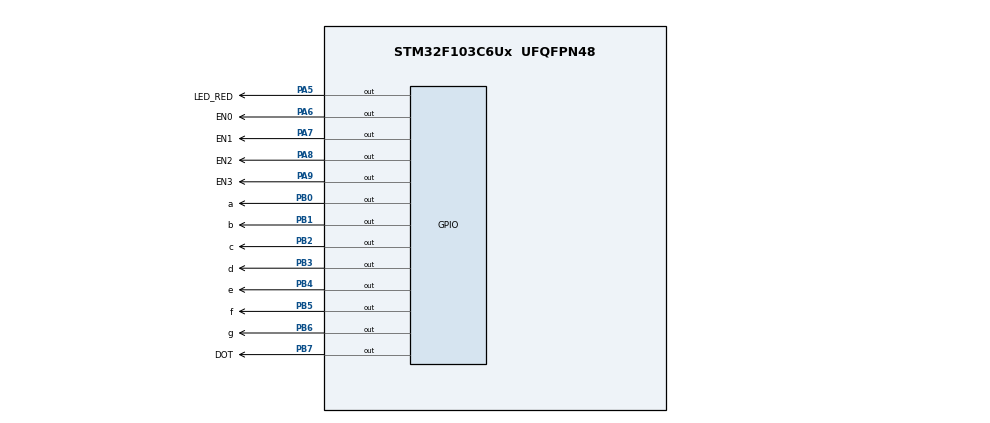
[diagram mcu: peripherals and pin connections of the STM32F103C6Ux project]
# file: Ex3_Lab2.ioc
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Mcu.Family=STM32F1
Mcu.Name=STM32F103C6Ux
Mcu.Package=UFQFPN48
NVIC.PriorityGroup=NVIC_PRIORITYGROUP_4
NVIC.TIM2_IRQn=true\:0\:0\:false\:false\:true\:true\:true
PA5.GPIO_Label=LED_RED
PA5.Signal=GPIO_Output
PA6.GPIO_Label=EN0
PA6.Signal=GPIO_Output
PA7.GPIO_Label=EN1
PA7.Signal=GPIO_Output
PA8.GPIO_Label=EN2
PA8.Signal=GPIO_Output
PA9.GPIO_Label=EN3
PA9.Signal=GPIO_Output
PB0.GPIO_Label=a
PB0.Signal=GPIO_Output
PB1.GPIO_Label=b
PB1.Signal=GPIO_Output
PB2.GPIO_Label=c
PB2.Signal=GPIO_Output
PB3.GPIO_Label=d
PB3.Signal=GPIO_Output
PB4.GPIO_Label=e
PB4.Signal=GPIO_Output
PB5.GPIO_Label=f
PB5.Signal=GPIO_Output
PB6.GPIO_Label=g
PB6.Signal=GPIO_Output
PB7.GPIO_Label=DOT
PB7.Signal=GPIO_Output
ProjectManager.HeapSize=0x200
ProjectManager.StackSize=0x400
ProjectManager.TargetToolchain=STM32CubeIDE
RCC.APB1Freq_Value=8000000
RCC.APB2Freq_Value=8000000
TIM2.Period=9
TIM2.Prescaler=7999
VP_SYS_VS_ND.Mode=No_Debug
VP_TIM2_VS_ClockSourceINT.Mode=Internal
board=custom

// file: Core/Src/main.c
/* USER CODE BEGIN Header */
/**
  ******************************************************************************
  * @file           : main.c
  * @brief          : Main program body
  ******************************************************************************
  * @attention
  *
  * <h2><center>&copy; Copyright (c) 2022 STMicroelectronics.
  * All rights reserved.</center></h2>
  *
  * This software component is licensed by ST under BSD 3-Clause license,
  * the "License"; You may not use this file except in compliance with the
  * License. You may obtain a copy of the License at:
  *                        opensource.org/licenses/BSD-3-Clause
  *
  ******************************************************************************
  */
/* USER CODE END Header */
#include "main.h"

TIM_HandleTypeDef htim2;

void SystemClock_Config(void);
static void MX_GPIO_Init(void);
static void MX_TIM2_Init(void);

/* USER CODE BEGIN 0 */
void display7SEG(uint16_t Pin1, uint16_t Pin2, uint16_t Pin3, uint16_t Pin4, uint16_t Pin5, uint16_t Pin6, uint16_t Pin7,
				 GPIO_TypeDef* Port1, GPIO_TypeDef* Port2, GPIO_TypeDef* Port3, GPIO_TypeDef* Port4, GPIO_TypeDef* Port5, GPIO_TypeDef* Port6, GPIO_TypeDef* Port7,
				 int num) {
	switch(num) {
	case 0: //Number 0 is 0000001
		HAL_GPIO_WritePin(Port1, Pin1, RESET);
		HAL_GPIO_WritePin(Port2, Pin2, RESET);
		HAL_GPIO_WritePin(Port3, Pin3, RESET);
		HAL_GPIO_WritePin(Port4, Pin4, RESET);
		HAL_GPIO_WritePin(Port5, Pin5, RESET);
		HAL_GPIO_WritePin(Port6, Pin6, RESET);
		HAL_GPIO_WritePin(Port7, Pin7, SET);
		break;

	case 1: //Number 1 is 1001111
		HAL_GPIO_WritePin(Port1, Pin1, SET);
		HAL_GPIO_WritePin(Port2, Pin2, RESET);
		HAL_GPIO_WritePin(Port3, Pin3, RESET);
		HAL_GPIO_WritePin(Port4, Pin4, SET);
		HAL_GPIO_WritePin(Port5, Pin5, SET);
		HAL_GPIO_WritePin(Port6, Pin6, SET);
		HAL_GPIO_WritePin(Port7, Pin7, SET);
		break;

	case 2: //Number 2 is 0010010
		HAL_GPIO_WritePin(Port1, Pin1, RESET);
		HAL_GPIO_WritePin(Port2, Pin2, RESET);
		HAL_GPIO_WritePin(Port3, Pin3, SET);
		HAL_GPIO_WritePin(Port4, Pin4, RESET);
		HAL_GPIO_WritePin(Port5, Pin5, RESET);
		HAL_GPIO_WritePin(Port6, Pin6, SET);
		HAL_GPIO_WritePin(Port7, Pin7, RESET);
		break;

	case 3: //Number 3 is 0000110
		HAL_GPIO_WritePin(Port1, Pin1, RESET);
		HAL_GPIO_WritePin(Port2, Pin2, RESET);
		HAL_GPIO_WritePin(Port3, Pin3, RESET);
		HAL_GPIO_WritePin(Port4, Pin4, RESET);
		HAL_GPIO_WritePin(Port5, Pin5, SET);
		HAL_GPIO_WritePin(Port6, Pin6, SET);
		HAL_GPIO_WritePin(Port7, Pin7, RESET);
		break;

	case 4: //Number 4 is 1001100
		HAL_GPIO_WritePin(Port1, Pin1, SET);
		HAL_GPIO_WritePin(Port2, Pin2, RESET);
		HAL_GPIO_WritePin(Port3, Pin3, RESET);
		HAL_GPIO_WritePin(Port4, Pin4, SET);
		HAL_GPIO_WritePin(Port5, Pin5, SET);
		HAL_GPIO_WritePin(Port6, Pin6, RESET);
		HAL_GPIO_WritePin(Port7, Pin7, RESET);
		break;

	case 5: //Number 5 is 0100100
		HAL_GPIO_WritePin(Port1, Pin1, RESET);
		HAL_GPIO_WritePin(Port2, Pin2, SET);
		HAL_GPIO_WritePin(Port3, Pin3, RESET);
		HAL_GPIO_WritePin(Port4, Pin4, RESET);
		HAL_GPIO_WritePin(Port5, Pin5, SET);
		HAL_GPIO_WritePin(Port6, Pin6, RESET);
		HAL_GPIO_WritePin(Port7, Pin7, RESET);
		break;

	case 6: //Number 6 is 0100000
		HAL_GPIO_WritePin(Port1, Pin1, RESET);
		HAL_GPIO_WritePin(Port2, Pin2, SET);
		HAL_GPIO_WritePin(Port3, Pin3, RESET);
		HAL_GPIO_WritePin(Port4, Pin4, RESET);
		HAL_GPIO_WritePin(Port5, Pin5, RESET);
		HAL_GPIO_WritePin(Port6, Pin6, RESET);
		HAL_GPIO_WritePin(Port7, Pin7, RESET);
		break;

	case 7: //Number 7 is 0001111
		HAL_GPIO_WritePin(Port1, Pin1, RESET);
		HAL_GPIO_WritePin(Port2, Pin2, RESET);
		HAL_GPIO_WritePin(Port3, Pin3, RESET);
		HAL_GPIO_WritePin(Port4, Pin4, SET);
		HAL_GPIO_WritePin(Port5, Pin5, SET);
		HAL_GPIO_WritePin(Port6, Pin6, SET);
		HAL_GPIO_WritePin(Port7, Pin7, SET);
		break;

	case 8: //Number 8 is 0000000
		HAL_GPIO_WritePin(Port1, Pin1, RESET);
		HAL_GPIO_WritePin(Port2, Pin2, RESET);
		HAL_GPIO_WritePin(Port3, Pin3, RESET);
		HAL_GPIO_WritePin(Port4, Pin4, RESET);
		HAL_GPIO_WritePin(Port5, Pin5, RESET);
		HAL_GPIO_WritePin(Port6, Pin6, RESET);
		HAL_GPIO_WritePin(Port7, Pin7, RESET);
		break;

	case 9: //Number 9 is 0000100
		HAL_GPIO_WritePin(Port1, Pin1, RESET);
		HAL_GPIO_WritePin(Port2, Pin2, RESET);
		HAL_GPIO_WritePin(Port3, Pin3, RESET);
		HAL_GPIO_WritePin(Port4, Pin4, RESET);
		HAL_GPIO_WritePin(Port5, Pin5, SET);
		HAL_GPIO_WritePin(Port6, Pin6, RESET);
		HAL_GPIO_WritePin(Port7, Pin7, RESET);
		break;

	default: break;
	}
}
const int MAX_LED = 4;
int index_led = 0;
int led_buffer[4] = {1, 2, 3, 4};

void update7SEG(int index) {
	switch(index) {
	case 0: //display led_buffer[0] on LED SEG1
		display7SEG(a_Pin, b_Pin, c_Pin, d_Pin, e_Pin, f_Pin, g_Pin,
				    a_GPIO_Port, b_GPIO_Port, c_GPIO_Port, d_GPIO_Port, e_GPIO_Port, f_GPIO_Port, g_GPIO_Port,
					led_buffer[index]);

		HAL_GPIO_WritePin(EN0_GPIO_Port, EN0_Pin, RESET);
		HAL_GPIO_WritePin(EN1_GPIO_Port, EN1_Pin, SET);
		HAL_GPIO_WritePin(EN2_GPIO_Port, EN2_Pin, SET);
		HAL_GPIO_WritePin(EN3_GPIO_Port, EN3_Pin, SET);

		break;
	case 1: //display led_buffer[1] on LED SEG2
		display7SEG(a_Pin, b_Pin, c_Pin, d_Pin, e_Pin, f_Pin, g_Pin,
				    a_GPIO_Port, b_GPIO_Port, c_GPIO_Port, d_GPIO_Port, e_GPIO_Port, f_GPIO_Port, g_GPIO_Port,
					led_buffer[index]);

		HAL_GPIO_WritePin(EN0_GPIO_Port, EN0_Pin, SET);
		HAL_GPIO_WritePin(EN1_GPIO_Port, EN1_Pin, RESET);
		HAL_GPIO_WritePin(EN2_GPIO_Port, EN2_Pin, SET);
		HAL_GPIO_WritePin(EN3_GPIO_Port, EN3_Pin, SET);

		break;
	case 2: //display led_buffer[2] on LED SEG3
		display7SEG(a_Pin, b_Pin, c_Pin, d_Pin, e_Pin, f_Pin, g_Pin,
				    a_GPIO_Port, b_GPIO_Port, c_GPIO_Port, d_GPIO_Port, e_GPIO_Port, f_GPIO_Port, g_GPIO_Port,
					led_buffer[index]);

		HAL_GPIO_WritePin(EN0_GPIO_Port, EN0_Pin, SET);
		HAL_GPIO_WritePin(EN1_GPIO_Port, EN1_Pin, SET);
		HAL_GPIO_WritePin(EN2_GPIO_Port, EN2_Pin, RESET);
		HAL_GPIO_WritePin(EN3_GPIO_Port, EN3_Pin, SET);

		break;
	case 3: //display led_buffer[3] on LED SEG4
		display7SEG(a_Pin, b_Pin, c_Pin, d_Pin, e_Pin, f_Pin, g_Pin,
				    a_GPIO_Port, b_GPIO_Port, c_GPIO_Port, d_GPIO_Port, e_GPIO_Port, f_GPIO_Port, g_GPIO_Port,
					led_buffer[index]);

		HAL_GPIO_WritePin(EN0_GPIO_Port, EN0_Pin, SET);
		HAL_GPIO_WritePin(EN1_GPIO_Port, EN1_Pin, SET);
		HAL_GPIO_WritePin(EN2_GPIO_Port, EN2_Pin, SET);
		HAL_GPIO_WritePin(EN3_GPIO_Port, EN3_Pin, RESET);

		break;
	default:
		break;
	}
}
/* USER CODE END 0 */

int main(void)
{

  /* MCU Configuration--------------------------------------------------------*/

  /* Reset of all peripherals, Initializes the Flash interface and the Systick. */
  HAL_Init();

  /* Configure the system clock */
  SystemClock_Config();

  /* Initialize all configured peripherals */
  MX_GPIO_Init();
  MX_TIM2_Init();
  /* USER CODE BEGIN 2 */
  HAL_TIM_Base_Start_IT(&htim2);
  /* USER CODE END 2 */

  /* Infinite loop */
  while (1)
  {

  }
}

void SystemClock_Config(void)
{
  RCC_OscInitTypeDef RCC_OscInitStruct = {0};
  RCC_ClkInitTypeDef RCC_ClkInitStruct = {0};

  /** Initializes the RCC Oscillators according to the specified parameters
  * in the RCC_OscInitTypeDef structure.
  */
  RCC_OscInitStruct.OscillatorType = RCC_OSCILLATORTYPE_HSI;
  RCC_OscInitStruct.HSIState = RCC_HSI_ON;
  RCC_OscInitStruct.HSICalibrationValue = RCC_HSICALIBRATION_DEFAULT;
  RCC_OscInitStruct.PLL.PLLState = RCC_PLL_NONE;
  if (HAL_RCC_OscConfig(&RCC_OscInitStruct) != HAL_OK)
  {
    Error_Handler();
  }
  /** Initializes the CPU, AHB and APB buses clocks
  */
  RCC_ClkInitStruct.ClockType = RCC_CLOCKTYPE_HCLK|RCC_CLOCKTYPE_SYSCLK
                              |RCC_CLOCKTYPE_PCLK1|RCC_CLOCKTYPE_PCLK2;
  RCC_ClkInitStruct.SYSCLKSource = RCC_SYSCLKSOURCE_HSI;
  RCC_ClkInitStruct.AHBCLKDivider = RCC_SYSCLK_DIV1;
  RCC_ClkInitStruct.APB1CLKDivider = RCC_HCLK_DIV1;
  RCC_ClkInitStruct.APB2CLKDivider = RCC_HCLK_DIV1;

  if (HAL_RCC_ClockConfig(&RCC_ClkInitStruct, FLASH_LATENCY_0) != HAL_OK)
  {
    Error_Handler();
  }
}

static void MX_TIM2_Init(void)
{

  TIM_ClockConfigTypeDef sClockSourceConfig = {0};
  TIM_MasterConfigTypeDef sMasterConfig = {0};

  htim2.Instance = TIM2;
  htim2.Init.Prescaler = 7999;
  htim2.Init.CounterMode = TIM_COUNTERMODE_UP;
  htim2.Init.Period = 9;
  htim2.Init.ClockDivision = TIM_CLOCKDIVISION_DIV1;
  htim2.Init.AutoReloadPreload = TIM_AUTORELOAD_PRELOAD_DISABLE;
  if (HAL_TIM_Base_Init(&htim2) != HAL_OK)
  {
    Error_Handler();
  }
  sClockSourceConfig.ClockSource = TIM_CLOCKSOURCE_INTERNAL;
  if (HAL_TIM_ConfigClockSource(&htim2, &sClockSourceConfig) != HAL_OK)
  {
    Error_Handler();
  }
  sMasterConfig.MasterOutputTrigger = TIM_TRGO_RESET;
  sMasterConfig.MasterSlaveMode = TIM_MASTERSLAVEMODE_DISABLE;
  if (HAL_TIMEx_MasterConfigSynchronization(&htim2, &sMasterConfig) != HAL_OK)
  {
    Error_Handler();
  }

}

static void MX_GPIO_Init(void)
{
  GPIO_InitTypeDef GPIO_InitStruct = {0};

  /* GPIO Ports Clock Enable */
  __HAL_RCC_GPIOA_CLK_ENABLE();
  __HAL_RCC_GPIOB_CLK_ENABLE();

  /*Configure GPIO pin Output Level */
  HAL_GPIO_WritePin(GPIOA, LED_RED_Pin|EN0_Pin|EN1_Pin|EN2_Pin
                          |EN3_Pin, GPIO_PIN_RESET);

  /*Configure GPIO pin Output Level */
  HAL_GPIO_WritePin(GPIOB, a_Pin|b_Pin|c_Pin|d_Pin
                          |e_Pin|f_Pin|g_Pin|DOT_Pin, GPIO_PIN_RESET);

  /*Configure GPIO pins : LED_RED_Pin EN0_Pin EN1_Pin EN2_Pin
                           EN3_Pin */
  GPIO_InitStruct.Pin = LED_RED_Pin|EN0_Pin|EN1_Pin|EN2_Pin
                          |EN3_Pin;
  GPIO_InitStruct.Mode = GPIO_MODE_OUTPUT_PP;
  GPIO_InitStruct.Pull = GPIO_NOPULL;
  GPIO_InitStruct.Speed = GPIO_SPEED_FREQ_LOW;
  HAL_GPIO_Init(GPIOA, &GPIO_InitStruct);

  /*Configure GPIO pins : a_Pin b_Pin c_Pin d_Pin
                           e_Pin f_Pin g_Pin DOT_Pin */
  GPIO_InitStruct.Pin = a_Pin|b_Pin|c_Pin|d_Pin
                          |e_Pin|f_Pin|g_Pin|DOT_Pin;
  GPIO_InitStruct.Mode = GPIO_MODE_OUTPUT_PP;
  GPIO_InitStruct.Pull = GPIO_NOPULL;
  GPIO_InitStruct.Speed = GPIO_SPEED_FREQ_LOW;
  HAL_GPIO_Init(GPIOB, &GPIO_InitStruct);

}

/* USER CODE BEGIN 4 */
int counter1 = 50; //LED 7SEG counter, switch every 0.5 second
int counter2 = 100; //LED RED1 counter, switch every second
int counter3 = 100; //counter of two LEDs display the colon, switch every second

void HAL_TIM_PeriodElapsedCallback(TIM_HandleTypeDef *htim) {

	if (counter2 <= 0) //switch LED RED every 2 second
	{
		HAL_GPIO_TogglePin(LED_RED_GPIO_Port, LED_RED_Pin);
		counter2 = 100; //reset counter2
	}

	if (counter3 <= 0) //display the colon every second
	{
		HAL_GPIO_TogglePin(DOT_GPIO_Port, DOT_Pin);
		counter3 = 100; //reset counter3
	}

	if (htim -> Instance == TIM2) {
		counter1--;
		counter2--;
		counter3--;
	}

	if (counter1 <= 0) {
		update7SEG(index_led++);
		if (index_led >= 4) index_led = 0;
		counter1 = 50; //reset counter1
	}
}
/* USER CODE END 4 */

void Error_Handler(void)
{
  __disable_irq();
  while (1)
  {
  }
}

/************************ (C) COPYRIGHT STMicroelectronics *****END OF FILE****/
